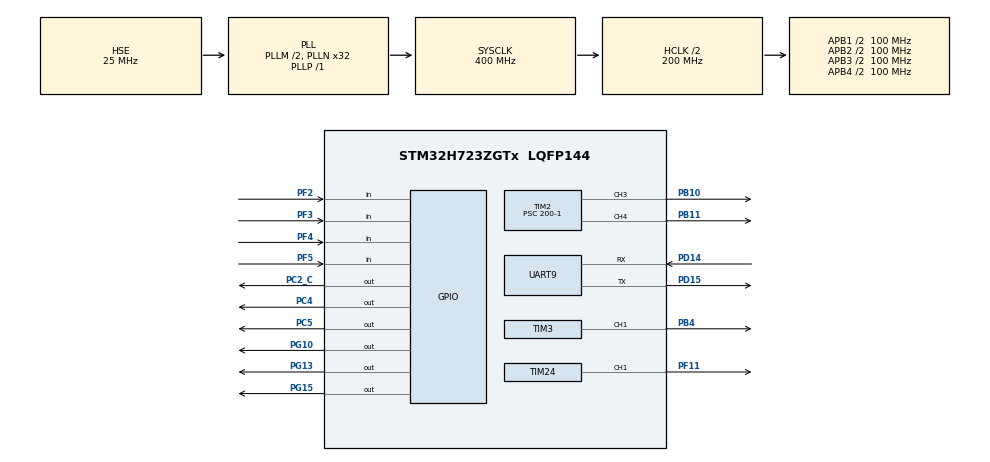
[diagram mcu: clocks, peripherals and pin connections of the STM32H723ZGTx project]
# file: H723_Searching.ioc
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Mcu.Family=STM32H7
Mcu.Name=STM32H723ZGTx
Mcu.Package=LQFP144
NVIC.PriorityGroup=NVIC_PRIORITYGROUP_4
NVIC.TIM24_IRQn=true\:0\:0\:false\:false\:true\:true\:true\:true
NVIC.TIM3_IRQn=true\:0\:0\:false\:false\:true\:true\:true\:true
NVIC.TIM6_DAC_IRQn=true\:1\:0\:true\:false\:true\:true\:true\:true
NVIC.UART9_IRQn=true\:0\:0\:true\:false\:true\:true\:true\:true
PA13(JTMS/SWDIO).Mode=Serial_Wire
PA13(JTMS/SWDIO).Signal=DEBUG_JTMS-SWDIO
PA14(JTCK/SWCLK).Mode=Serial_Wire
PA14(JTCK/SWCLK).Signal=DEBUG_JTCK-SWCLK
PB10.Signal=S_TIM2_CH3
PB11.Signal=S_TIM2_CH4
PB4(NJTRST).Signal=S_TIM3_CH1
PC2_C.Signal=GPIO_Output
PC4.Signal=GPIO_Output
PC5.Signal=GPIO_Output
PD14.Mode=Asynchronous
PD14.Signal=UART9_RX
PD15.Mode=Asynchronous
PD15.Signal=UART9_TX
PF11.Mode=PWM Generation1 CH1
PF11.Signal=TIM24_CH1
PF2.GPIO_PuPd=GPIO_PULLUP
PF2.Signal=GPIO_Input
PF3.GPIO_PuPd=GPIO_PULLUP
PF3.Signal=GPIO_Input
PF4.GPIO_PuPd=GPIO_PULLUP
PF4.Signal=GPIO_Input
PF5.GPIO_PuPd=GPIO_PULLUP
PF5.Signal=GPIO_Input
PG10.PinState=GPIO_PIN_SET
PG10.Signal=GPIO_Output
PG13.PinState=GPIO_PIN_SET
PG13.Signal=GPIO_Output
PG15.Signal=GPIO_Output
PH0-OSC_IN.Mode=HSE-External-Oscillator
PH0-OSC_IN.Signal=RCC_OSC_IN
PH1-OSC_OUT.Mode=HSE-External-Oscillator
PH1-OSC_OUT.Signal=RCC_OSC_OUT
ProjectManager.HeapSize=0x200
ProjectManager.StackSize=0x400
ProjectManager.TargetToolchain=MDK-ARM V5.32
RCC.ADCFreq_Value=100000000
RCC.APB1Freq_Value=100000000
RCC.APB2Freq_Value=100000000
RCC.APB3Freq_Value=100000000
RCC.APB4Freq_Value=100000000
RCC.CortexFreq_Value=400000000
RCC.D1PPRE=RCC_APB3_DIV2
RCC.D2PPRE1=RCC_APB1_DIV2
RCC.D2PPRE2=RCC_APB2_DIV2
RCC.D3PPRE=RCC_APB4_DIV2
RCC.DIVM1=2
RCC.DIVM2=2
RCC.DIVN1=32
RCC.DIVN2=16
RCC.DIVP1=1
RCC.HCLKFreq_Value=200000000
RCC.HPRE=RCC_HCLK_DIV2
RCC.PLL2FRACN=0
RCC.PLL3FRACN=0
RCC.PLLFRACN=0
RCC.PLLSourceVirtual=RCC_PLLSOURCE_HSE
RCC.SYSCLKFreq_VALUE=400000000
RCC.SYSCLKSource=RCC_SYSCLKSOURCE_PLLCLK
RCC.USBFreq_Value=200000000
SH.S_TIM2_CH3.0=TIM2_CH3,PWM Generation3 CH3
SH.S_TIM2_CH4.0=TIM2_CH4,PWM Generation4 CH4
SH.S_TIM3_CH1.0=TIM3_CH1,PWM Generation1 CH1
TIM2.AutoReloadPreload=TIM_AUTORELOAD_PRELOAD_ENABLE
TIM2.Channel-PWM\ Generation3\ CH3=TIM_CHANNEL_3
TIM2.Channel-PWM\ Generation4\ CH4=TIM_CHANNEL_4
TIM2.Period=20000-1
TIM2.Prescaler=200-1
TIM24.AutoReloadPreload=TIM_AUTORELOAD_PRELOAD_ENABLE
TIM24.Channel-PWM\ Generation1\ CH1=TIM_CHANNEL_1
TIM24.Period=1000-1
TIM24.Prescaler=200-1
TIM24.Pulse-PWM\ Generation1\ CH1=0
TIM3.AutoReloadPreload=TIM_AUTORELOAD_PRELOAD_ENABLE
TIM3.Channel-PWM\ Generation1\ CH1=TIM_CHANNEL_1
TIM3.Period=1000-1
TIM3.Prescaler=200-1
TIM3.Pulse-PWM\ Generation1\ CH1=0
TIM6.Period=10000-1
TIM6.Prescaler=200-1
VP_TIM24_VS_ClockSourceINT.Mode=Internal
VP_TIM2_VS_ClockSourceINT.Mode=Internal
VP_TIM3_VS_ClockSourceINT.Mode=Internal
VP_TIM6_VS_ClockSourceINT.Mode=Enable_Timer
board=custom

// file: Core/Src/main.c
/* USER CODE BEGIN Header */
/**
  ******************************************************************************
  * @file           : main.c
  * @brief          : Main program body
  ******************************************************************************
  * @attention
  *
  * Copyright (c) 2025 STMicroelectronics.
  * All rights reserved.
  *
  * This software is licensed under terms that can be found in the LICENSE file
  * in the root directory of this software component.
  * If no LICENSE file comes with this software, it is provided AS-IS.
  *
  ******************************************************************************
  */
/* USER CODE END Header */
#include "main.h"

/* USER CODE BEGIN Includes */
#include "OLED.h"
#include "Serial.h"
#include "stdio.h"
#include "Delay.h"
#include "Servo.h"
#include "packet_parser.h"
#include "My_Interrupt.h"
#include "fuzzypid.h"
#include "IncrementalPID.h"
#include "menu.h"
/* USER CODE END Includes */

/* USER CODE BEGIN PD */
float my_kp = 0.64;
float my_ki = 0.03f;
float my_kd = 0.02;
float my_kp_x = 0.32;
float my_ki_x = 0.04f;
float my_kd_x = 0.02;

int16_t change_flag = 0;
/* USER CODE END PD */

TIM_HandleTypeDef htim2;
TIM_HandleTypeDef htim3;
TIM_HandleTypeDef htim6;
TIM_HandleTypeDef htim24;

UART_HandleTypeDef huart9;

/* USER CODE BEGIN PV */
#if 1
#if (__ARMCC_VERSION >= 6010050)
__asm(".global __use_no_semihosting\n\t");
__asm(".global __ARM_use_no_argv \n\t");

#else
#pragma import(__use_no_semihosting)

struct __FILE
{
    int handle;

};

#endif

int _ttywrch(int ch)
{
    ch = ch;
    return ch;
}

void _sys_exit(int x)
{
    x = x;
}

char *_sys_command_string(char *cmd, int len)
{
    return NULL;
}

FILE __stdout;

int fputc(int ch, FILE *f) {
    HAL_UART_Transmit(&huart9, (uint8_t *)&ch, 1, HAL_MAX_DELAY);
    return ch;
}
#endif
/* USER CODE END PV */

void SystemClock_Config(void);
static void MX_GPIO_Init(void);
static void MX_TIM2_Init(void);
static void MX_TIM6_Init(void);
static void MX_UART9_Init(void);
static void MX_TIM3_Init(void);
static void MX_TIM24_Init(void);
/* USER CODE BEGIN PFP */
void menu_mode1(uint8_t cl_action);
void menu_mode2(uint8_t cl_action);
void menu_mode3(uint8_t cl_action);

int8_t square_wave(uint32_t t, uint32_t period);

/* USER CODE END PFP */

int main(void)
{

  /* MCU Configuration--------------------------------------------------------*/

  /* Reset of all peripherals, Initializes the Flash interface and the Systick. */
  HAL_Init();

  /* Configure the system clock */
  SystemClock_Config();

  /* Initialize all configured peripherals */
  MX_GPIO_Init();
  MX_TIM2_Init();
  MX_TIM6_Init();
  MX_UART9_Init();
  MX_TIM3_Init();
  MX_TIM24_Init();
  /* USER CODE BEGIN 2 */
  DWT_Init();

  HAL_TIM_PWM_Start(&htim2, TIM_CHANNEL_3);
  HAL_TIM_PWM_Start(&htim2, TIM_CHANNEL_4);

  HAL_TIM_PWM_Start(&htim3, TIM_CHANNEL_1);
  HAL_TIM_PWM_Start(&htim24, TIM_CHANNEL_1);
  Servo_Init(&htim2,TIM_CHANNEL_3,TIM_CHANNEL_4);
  //串口
  Delay_ms(500);
  UART_StartReceiveIT();
  Packet_t received_packet;
  OLED_Init();
  OLED_Clear();
  Delay_ms(100);
  //中断

  init_menu();

  Stepper_Init(&StepperMotor_x, &htim24, TIM_CHANNEL_1, GPIOC, GPIO_PIN_2, 0);
  Stepper_Init(&StepperMotor_y, &htim3, TIM_CHANNEL_1, GPIOG, GPIO_PIN_15, 0);

  HAL_TIM_Base_Start_IT(&htim6);
  HAL_TIM_Base_Start_IT(&htim24);
  HAL_TIM_Base_Start_IT(&htim3);
  /* USER CODE END 2 */

  /* Infinite loop */
  /* USER CODE BEGIN WHILE */
  int16_t Key_index = 0;

  init_all_pid_new();//标准PID

  //增量式PID
  /*******获取目标点位(start)*******/
  //等待串口数据
 while (green_point.y+green_point.x==0)
  {
    /* code */
    OLED_ShowString(0,0,"waiting",OLED_8X16);
    OLED_Update();
    if (UART_GetPacket(&received_packet)) {
        ParsePacket((char*)received_packet.data);
    }
  }
  OLED_Clear();

  while (1)
  {
    /* USER CODE END WHILE */

    /* USER CODE BEGIN 3 */
    OLED_Clear();
    // OLED_ShowNum(0, 0*16, uwTick, 8,OLED_8X16);

    if (UART_GetPacket(&received_packet)) {
        // 处理完整数据包（如转发或解析
        //HAL_UART_Transmit(&huart9, received_packet.data, received_packet.length, HAL_MAX_DELAY);
        ParsePacket((char*)received_packet.data);

    }

    // get_menu_action();//该函数会清楚标志�????
    cl_action  = get_menu_action();

    //模式1调节x的PID参数
    if(mode_inter_flag==0){
          current_menu = menu_navigate(current_menu,cl_action);
          OLED_DrawMenu(current_menu);

    }else{
      switch (current_menu->id)
      {
        case 0://id
          menu_mode1(cl_action);
        break;
        case 1:
          menu_mode2(cl_action);
        break;
        case 2:
          menu_mode3(cl_action);
        break;
      /*******id�????0的菜单（end�????**********/
        default:
          break;
      }

    }

    OLED_Update();
  }
  /* USER CODE END 3 */
}

void SystemClock_Config(void)
{
  RCC_OscInitTypeDef RCC_OscInitStruct = {0};
  RCC_ClkInitTypeDef RCC_ClkInitStruct = {0};

  /** Supply configuration update enable
  */
  HAL_PWREx_ConfigSupply(PWR_LDO_SUPPLY);

  /** Configure the main internal regulator output voltage
  */
  __HAL_PWR_VOLTAGESCALING_CONFIG(PWR_REGULATOR_VOLTAGE_SCALE1);

  while(!__HAL_PWR_GET_FLAG(PWR_FLAG_VOSRDY)) {}

  /** Initializes the RCC Oscillators according to the specified parameters
  * in the RCC_OscInitTypeDef structure.
  */
  RCC_OscInitStruct.OscillatorType = RCC_OSCILLATORTYPE_HSE;
  RCC_OscInitStruct.HSEState = RCC_HSE_ON;
  RCC_OscInitStruct.PLL.PLLState = RCC_PLL_ON;
  RCC_OscInitStruct.PLL.PLLSource = RCC_PLLSOURCE_HSE;
  RCC_OscInitStruct.PLL.PLLM = 2;
  RCC_OscInitStruct.PLL.PLLN = 32;
  RCC_OscInitStruct.PLL.PLLP = 1;
  RCC_OscInitStruct.PLL.PLLQ = 2;
  RCC_OscInitStruct.PLL.PLLR = 2;
  RCC_OscInitStruct.PLL.PLLRGE = RCC_PLL1VCIRANGE_3;
  RCC_OscInitStruct.PLL.PLLVCOSEL = RCC_PLL1VCOWIDE;
  RCC_OscInitStruct.PLL.PLLFRACN = 0;
  if (HAL_RCC_OscConfig(&RCC_OscInitStruct) != HAL_OK)
  {
    Error_Handler();
  }

  /** Initializes the CPU, AHB and APB buses clocks
  */
  RCC_ClkInitStruct.ClockType = RCC_CLOCKTYPE_HCLK|RCC_CLOCKTYPE_SYSCLK
                              |RCC_CLOCKTYPE_PCLK1|RCC_CLOCKTYPE_PCLK2
                              |RCC_CLOCKTYPE_D3PCLK1|RCC_CLOCKTYPE_D1PCLK1;
  RCC_ClkInitStruct.SYSCLKSource = RCC_SYSCLKSOURCE_PLLCLK;
  RCC_ClkInitStruct.SYSCLKDivider = RCC_SYSCLK_DIV1;
  RCC_ClkInitStruct.AHBCLKDivider = RCC_HCLK_DIV2;
  RCC_ClkInitStruct.APB3CLKDivider = RCC_APB3_DIV2;
  RCC_ClkInitStruct.APB1CLKDivider = RCC_APB1_DIV2;
  RCC_ClkInitStruct.APB2CLKDivider = RCC_APB2_DIV2;
  RCC_ClkInitStruct.APB4CLKDivider = RCC_APB4_DIV2;

  if (HAL_RCC_ClockConfig(&RCC_ClkInitStruct, FLASH_LATENCY_2) != HAL_OK)
  {
    Error_Handler();
  }
}

static void MX_TIM2_Init(void)
{

  TIM_ClockConfigTypeDef sClockSourceConfig = {0};
  TIM_MasterConfigTypeDef sMasterConfig = {0};
  TIM_OC_InitTypeDef sConfigOC = {0};

  htim2.Instance = TIM2;
  htim2.Init.Prescaler = 200-1;
  htim2.Init.CounterMode = TIM_COUNTERMODE_UP;
  htim2.Init.Period = 20000-1;
  htim2.Init.ClockDivision = TIM_CLOCKDIVISION_DIV1;
  htim2.Init.AutoReloadPreload = TIM_AUTORELOAD_PRELOAD_ENABLE;
  if (HAL_TIM_Base_Init(&htim2) != HAL_OK)
  {
    Error_Handler();
  }
  sClockSourceConfig.ClockSource = TIM_CLOCKSOURCE_INTERNAL;
  if (HAL_TIM_ConfigClockSource(&htim2, &sClockSourceConfig) != HAL_OK)
  {
    Error_Handler();
  }
  if (HAL_TIM_PWM_Init(&htim2) != HAL_OK)
  {
    Error_Handler();
  }
  sMasterConfig.MasterOutputTrigger = TIM_TRGO_RESET;
  sMasterConfig.MasterSlaveMode = TIM_MASTERSLAVEMODE_DISABLE;
  if (HAL_TIMEx_MasterConfigSynchronization(&htim2, &sMasterConfig) != HAL_OK)
  {
    Error_Handler();
  }
  sConfigOC.OCMode = TIM_OCMODE_PWM1;
  sConfigOC.Pulse = 0;
  sConfigOC.OCPolarity = TIM_OCPOLARITY_HIGH;
  sConfigOC.OCFastMode = TIM_OCFAST_DISABLE;
  if (HAL_TIM_PWM_ConfigChannel(&htim2, &sConfigOC, TIM_CHANNEL_3) != HAL_OK)
  {
    Error_Handler();
  }
  if (HAL_TIM_PWM_ConfigChannel(&htim2, &sConfigOC, TIM_CHANNEL_4) != HAL_OK)
  {
    Error_Handler();
  }
  HAL_TIM_MspPostInit(&htim2);

}

static void MX_TIM3_Init(void)
{

  TIM_ClockConfigTypeDef sClockSourceConfig = {0};
  TIM_MasterConfigTypeDef sMasterConfig = {0};
  TIM_OC_InitTypeDef sConfigOC = {0};

  htim3.Instance = TIM3;
  htim3.Init.Prescaler = 200-1;
  htim3.Init.CounterMode = TIM_COUNTERMODE_UP;
  htim3.Init.Period = 1000-1;
  htim3.Init.ClockDivision = TIM_CLOCKDIVISION_DIV1;
  htim3.Init.AutoReloadPreload = TIM_AUTORELOAD_PRELOAD_ENABLE;
  if (HAL_TIM_Base_Init(&htim3) != HAL_OK)
  {
    Error_Handler();
  }
  sClockSourceConfig.ClockSource = TIM_CLOCKSOURCE_INTERNAL;
  if (HAL_TIM_ConfigClockSource(&htim3, &sClockSourceConfig) != HAL_OK)
  {
    Error_Handler();
  }
  if (HAL_TIM_PWM_Init(&htim3) != HAL_OK)
  {
    Error_Handler();
  }
  sMasterConfig.MasterOutputTrigger = TIM_TRGO_RESET;
  sMasterConfig.MasterSlaveMode = TIM_MASTERSLAVEMODE_DISABLE;
  if (HAL_TIMEx_MasterConfigSynchronization(&htim3, &sMasterConfig) != HAL_OK)
  {
    Error_Handler();
  }
  sConfigOC.OCMode = TIM_OCMODE_PWM1;
  sConfigOC.Pulse = 0;
  sConfigOC.OCPolarity = TIM_OCPOLARITY_HIGH;
  sConfigOC.OCFastMode = TIM_OCFAST_DISABLE;
  if (HAL_TIM_PWM_ConfigChannel(&htim3, &sConfigOC, TIM_CHANNEL_1) != HAL_OK)
  {
    Error_Handler();
  }
  HAL_TIM_MspPostInit(&htim3);

}

static void MX_TIM6_Init(void)
{

  TIM_MasterConfigTypeDef sMasterConfig = {0};

  htim6.Instance = TIM6;
  htim6.Init.Prescaler = 200-1;
  htim6.Init.CounterMode = TIM_COUNTERMODE_UP;
  htim6.Init.Period = 10000-1;
  htim6.Init.AutoReloadPreload = TIM_AUTORELOAD_PRELOAD_DISABLE;
  if (HAL_TIM_Base_Init(&htim6) != HAL_OK)
  {
    Error_Handler();
  }
  sMasterConfig.MasterOutputTrigger = TIM_TRGO_RESET;
  sMasterConfig.MasterSlaveMode = TIM_MASTERSLAVEMODE_DISABLE;
  if (HAL_TIMEx_MasterConfigSynchronization(&htim6, &sMasterConfig) != HAL_OK)
  {
    Error_Handler();
  }

}

static void MX_TIM24_Init(void)
{

  TIM_ClockConfigTypeDef sClockSourceConfig = {0};
  TIM_MasterConfigTypeDef sMasterConfig = {0};
  TIM_OC_InitTypeDef sConfigOC = {0};

  htim24.Instance = TIM24;
  htim24.Init.Prescaler = 200-1;
  htim24.Init.CounterMode = TIM_COUNTERMODE_UP;
  htim24.Init.Period = 1000-1;
  htim24.Init.ClockDivision = TIM_CLOCKDIVISION_DIV1;
  htim24.Init.AutoReloadPreload = TIM_AUTORELOAD_PRELOAD_ENABLE;
  if (HAL_TIM_Base_Init(&htim24) != HAL_OK)
  {
    Error_Handler();
  }
  sClockSourceConfig.ClockSource = TIM_CLOCKSOURCE_INTERNAL;
  if (HAL_TIM_ConfigClockSource(&htim24, &sClockSourceConfig) != HAL_OK)
  {
    Error_Handler();
  }
  if (HAL_TIM_PWM_Init(&htim24) != HAL_OK)
  {
    Error_Handler();
  }
  sMasterConfig.MasterOutputTrigger = TIM_TRGO_RESET;
  sMasterConfig.MasterSlaveMode = TIM_MASTERSLAVEMODE_DISABLE;
  if (HAL_TIMEx_MasterConfigSynchronization(&htim24, &sMasterConfig) != HAL_OK)
  {
    Error_Handler();
  }
  sConfigOC.OCMode = TIM_OCMODE_PWM1;
  sConfigOC.Pulse = 0;
  sConfigOC.OCPolarity = TIM_OCPOLARITY_HIGH;
  sConfigOC.OCFastMode = TIM_OCFAST_DISABLE;
  if (HAL_TIM_PWM_ConfigChannel(&htim24, &sConfigOC, TIM_CHANNEL_1) != HAL_OK)
  {
    Error_Handler();
  }
  HAL_TIM_MspPostInit(&htim24);

}

static void MX_UART9_Init(void)
{

  huart9.Instance = UART9;
  huart9.Init.BaudRate = 115200;
  huart9.Init.WordLength = UART_WORDLENGTH_8B;
  huart9.Init.StopBits = UART_STOPBITS_1;
  huart9.Init.Parity = UART_PARITY_NONE;
  huart9.Init.Mode = UART_MODE_TX_RX;
  huart9.Init.HwFlowCtl = UART_HWCONTROL_NONE;
  huart9.Init.OverSampling = UART_OVERSAMPLING_16;
  huart9.Init.OneBitSampling = UART_ONE_BIT_SAMPLE_DISABLE;
  huart9.Init.ClockPrescaler = UART_PRESCALER_DIV1;
  huart9.AdvancedInit.AdvFeatureInit = UART_ADVFEATURE_NO_INIT;
  if (HAL_UART_Init(&huart9) != HAL_OK)
  {
    Error_Handler();
  }
  if (HAL_UARTEx_SetTxFifoThreshold(&huart9, UART_TXFIFO_THRESHOLD_1_8) != HAL_OK)
  {
    Error_Handler();
  }
  if (HAL_UARTEx_SetRxFifoThreshold(&huart9, UART_RXFIFO_THRESHOLD_1_8) != HAL_OK)
  {
    Error_Handler();
  }
  if (HAL_UARTEx_DisableFifoMode(&huart9) != HAL_OK)
  {
    Error_Handler();
  }

}

static void MX_GPIO_Init(void)
{
  GPIO_InitTypeDef GPIO_InitStruct = {0};

  /* GPIO Ports Clock Enable */
  __HAL_RCC_GPIOF_CLK_ENABLE();
  __HAL_RCC_GPIOH_CLK_ENABLE();
  __HAL_RCC_GPIOC_CLK_ENABLE();
  __HAL_RCC_GPIOB_CLK_ENABLE();
  __HAL_RCC_GPIOD_CLK_ENABLE();
  __HAL_RCC_GPIOA_CLK_ENABLE();
  __HAL_RCC_GPIOG_CLK_ENABLE();

  /*Configure GPIO pin Output Level */
  HAL_GPIO_WritePin(GPIOC, GPIO_PIN_2|GPIO_PIN_4|GPIO_PIN_5, GPIO_PIN_RESET);

  /*Configure GPIO pin Output Level */
  HAL_GPIO_WritePin(GPIOG, GPIO_PIN_10|GPIO_PIN_13, GPIO_PIN_SET);

  /*Configure GPIO pin Output Level */
  HAL_GPIO_WritePin(GPIOG, GPIO_PIN_15, GPIO_PIN_RESET);

  /*Configure GPIO pins : PF2 PF3 PF4 PF5 */
  GPIO_InitStruct.Pin = GPIO_PIN_2|GPIO_PIN_3|GPIO_PIN_4|GPIO_PIN_5;
  GPIO_InitStruct.Mode = GPIO_MODE_INPUT;
  GPIO_InitStruct.Pull = GPIO_PULLUP;
  HAL_GPIO_Init(GPIOF, &GPIO_InitStruct);

  /*Configure GPIO pins : PC2 PC4 PC5 */
  GPIO_InitStruct.Pin = GPIO_PIN_2|GPIO_PIN_4|GPIO_PIN_5;
  GPIO_InitStruct.Mode = GPIO_MODE_OUTPUT_PP;
  GPIO_InitStruct.Pull = GPIO_NOPULL;
  GPIO_InitStruct.Speed = GPIO_SPEED_FREQ_LOW;
  HAL_GPIO_Init(GPIOC, &GPIO_InitStruct);

  /*Configure GPIO pins : PG10 PG13 PG15 */
  GPIO_InitStruct.Pin = GPIO_PIN_10|GPIO_PIN_13|GPIO_PIN_15;
  GPIO_InitStruct.Mode = GPIO_MODE_OUTPUT_PP;
  GPIO_InitStruct.Pull = GPIO_NOPULL;
  GPIO_InitStruct.Speed = GPIO_SPEED_FREQ_LOW;
  HAL_GPIO_Init(GPIOG, &GPIO_InitStruct);

}

/* USER CODE BEGIN 4 */
void menu_mode1(uint8_t cl_action)
{
    switch (cl_action)
          {
            case 0:
                change_flag += 1;
                change_flag = (change_flag >= 3) ? 0 : change_flag;  // 0�????1�????2�????0...
            break;
            case 1:
              switch (change_flag) {
                case 0: my_kp_x -= 0.01; break;
                case 1: my_ki_x -= 0.01; break;
                case 2: my_kd_x -= 0.01; break;
                default: break;
              }
            break;
            case 2:
              switch (change_flag) {
                  case 0: my_kp_x += 0.01; break;
                  case 1: my_ki_x += 0.01; break;
                  case 2: my_kd_x += 0.01; break;
                  default: break;
              }
            break;
            case 3:
              //菜单标志位置0，返回菜单�?�择
              mode_inter_flag = 0;

            default:
            break;
          }
        /**********可视化部�????(start)************/
          OLED_ShowString(0,0,"clock:",OLED_6X8);
          OLED_ShowNum(8*6,0*8,uwTick,8,OLED_6X8);

          OLED_ShowString(0,1*8,"blue:",OLED_6X8);
          OLED_ShowNum(8*6,1*8,blue_brick.x,3,OLED_6X8);
          OLED_ShowNum(8*6+3*8+2,1*8,blue_brick.y,3,OLED_6X8);

          OLED_ShowString(0,2*8,"I:",OLED_6X8);
          OLED_ShowFloatNum(8*6,2*8,pid_y.integral,5,5,OLED_6X8);
          // OLED_ShowNum(8*6+3*8+2,2*8,incr_pid_x.integral,3,OLED_6X8);

          OLED_ShowString(0,3*8,"x_pid_out:",OLED_6X8);
          OLED_ShowFloatNum(8*6+8,3*8,pid_x.output,4,2,OLED_6X8);

          OLED_ShowString(0,4*8,"y_pid_out:",OLED_6X8);
          OLED_ShowFloatNum(8*6+8,4*8,pid_y.output,4,2,OLED_6X8);

          OLED_ShowString(0,5*8,"x_rang:",OLED_6X8);
          OLED_ShowString(0,6*8,"change_index:",OLED_6X8);
          OLED_ShowNum(3*8+4*8+4*8,6*8,change_flag,1,OLED_6X8);

          OLED_ShowString(0,7*8,"pid:",OLED_6X8);
          OLED_ShowFloatNum(3*8,7*8,pid_x.Kp,1,2,OLED_6X8);
          OLED_ShowFloatNum(3*8+4*8,7*8,pid_x.Ki,1,4,OLED_6X8);
          OLED_ShowFloatNum(3*8+4*8+6*8,7*8,pid_x.Kd,1,2,OLED_6X8);

          set_pid_index(&pid_x,my_kp_x,my_kd_x,my_ki_x,0.01);
          set_pid_index(&pid_y,my_kp_x,my_kd,my_ki,0.01);
        /**********可视化部�????(end)************/
}

void menu_mode2(uint8_t cl_action){
  static Point_t center_point = {320, 240};
  static Point_t target_point = {0, 0};
  static Point_t move_distance = {0, 0};
  if(red_point.x != 999&& red_point.y !=999&&
     blue_brick.x != 999 && blue_brick.y != 999){
    move_distance.x = red_point.x - blue_brick.x;
    move_distance.y = red_point.y - blue_brick.y;
  }else{
    move_distance.x = move_distance.y = 0;
    // target_point.x = center_point.x;
    // target_point.y = center_point.y;
  }

  CalculateStepperSpeed(&StepperMotor_x, move_distance.x);
  CalculateStepperSpeed(&StepperMotor_y, move_distance.y);
  OLED_ShowSignedNum(3*8,3*16,StepperMotor_x.stepper_index,3,OLED_8X16);
  OLED_ShowSignedNum(3*16+3*8+4,3*16,StepperMotor_y.stepper_index,3,OLED_8X16);

  switch (cl_action)
  {
  case 0 :

    break;
  case 1:

    break;
  case 2:

    break;
  case 3:
    //菜单标志位置0，返回菜单�?�择
    mode_inter_flag = 0;
    break;
  default:
    break;
  }

  OLED_ShowString(0,0,"clock:",OLED_8X16);
  OLED_ShowNum(3*16,0*8,uwTick,8,OLED_8X16);

  OLED_ShowString(0,1*16,"red:",OLED_8X16);
  OLED_ShowNum(3*16,1*16,red_point.x,3,OLED_8X16);
  OLED_ShowNum(3*16+3*8+4,1*16,red_point.y,3,OLED_8X16);

  OLED_ShowString(0*16,2*16,"Blue:",OLED_8X16);
  OLED_ShowNum(3*16,2*16,blue_brick.x,3,OLED_8X16);
  OLED_ShowNum(3*16+3*8+4,2*16,blue_brick.y,3,OLED_8X16);
}

void menu_mode3(uint8_t cl_action){
  static Point_t move_cri = {0, 0};
  static uint8_t style = 0;
  OLED_ShowString(0,0,"clock:",OLED_8X16);
  OLED_ShowNum(3*16,0*8,uwTick,8,OLED_8X16);
  OLED_ShowNum(0,1*16,style,2,OLED_8X16);
  switch (cl_action)
  {
  case 0 :
    style += 1;
    style = (style >= 3) ? 0 : style;  // 0
    break;
  case 1:

    break;
  case 2:

    break;
  case 3:
    //菜单标志位置0，返回菜单�?�择
    mode_inter_flag = 0;
    break;
  default:
    break;
  }

  switch (style)
  {
  case 0:
    move_cri.x = sin(uwTick/500.0f)*30;
    move_cri.y = cos(uwTick/500.0f)*30;
    CalculateStepperSpeed(&StepperMotor_x, move_cri.x);
    CalculateStepperSpeed(&StepperMotor_y, move_cri.y);
    OLED_ShowString(0,0,"clock:",OLED_8X16);
    OLED_ShowNum(3*16,0*8,uwTick,8,OLED_8X16);
    OLED_ShowString(0,1*16,"move_cri:",OLED_8X16);
    break;
  case 1:
    move_cri.x = square_wave(uwTick,1000)*60;
    move_cri.y = square_wave(uwTick+250,1000)*60;
    CalculateStepperSpeed(&StepperMotor_x, move_cri.x);
    CalculateStepperSpeed(&StepperMotor_y, move_cri.y);
    OLED_ShowString(0,0,"clock:",OLED_8X16);
    OLED_ShowNum(3*16,0*8,uwTick,8,OLED_8X16);
    break;
  case 2:
    /* code */
    break;
  default:
    break;
  }

}
/********绘图函数（start）********/
/**
  * @brief  生成周期方波
  * @param  t: 当前时间(ms)
  * @param  period: 方波周期(ms)
  * @retval 方波值 (-1, 0, 1)
  */
int8_t square_wave(uint32_t t, uint32_t period) {
    uint32_t phase = t % period;
    uint32_t quarter = period / 4;

    if (phase < quarter)        return 0;
    else if (phase < 2*quarter) return 1;
    else if (phase < 3*quarter) return 0;
    else                        return -1;
}

/********绘图函数（end）********/

void Error_Handler(void)
{
  __disable_irq();
  while (1)
  {
  }
}
